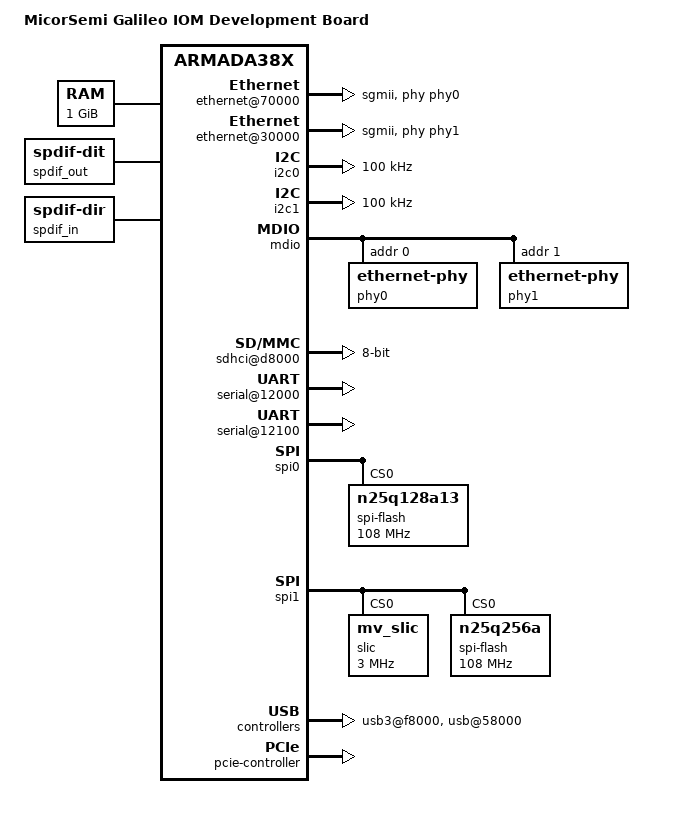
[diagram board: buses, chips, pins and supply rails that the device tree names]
/*
 * Device Tree file for Marvell Armada 385 evaluation board
 * (DB-88F6820)
 *
 *  Copyright (C) 2013 Marvell
 *
 * Thomas Petazzoni <thomas.petazzoni@free-electrons.com>
 *
 * This file is licensed under the terms of the GNU General Public
 * License version 2.  This program is licensed "as is" without any
 * warranty of any kind, whether express or implied.
 * modifed by Lijun Qin <lijun.qin@microsemi.com>
 * This is customized for Galileo IOM based Marvell SOC 88F6810 
 * Please review it carefully according to Galileo HW Spec
 */

/dts-v1/;
#include <dt-bindings/gpio/gpio.h>
#include "armada-380.dtsi"

/ {
	model = "MicorSemi Galileo IOM Development Board";
	compatible = "marvell,armada380", "marvell,armada38x";

	chosen {
		bootargs = "console=ttyS0,115200 earlyprintk";
	};

	memory {
		device_type = "memory";
		reg = <0x00000000 0x40000000>; /* MSCC uses 1GB DDR4  */
	};

	soc {

		internal-regs {
			ethernet@70000 {
				status = "okay";
				phy = <&phy0>;
				phy-mode = "sgmii"; 
			};

			ethernet@30000 {
				status = "okay";
				phy = <&phy1>;
				phy-mode = "sgmii";
			};

			i2c0: i2c@11000 {
				status = "okay";
				clock-frequency = <100000>;
			};

			i2c1: i2c@11100 {
				status = "okay";
				clock-frequency = <100000>;
			};

			mdio {
				phy0: ethernet-phy@0 {
					reg = <0>;
				};

				phy1: ethernet-phy@1 {
					reg = <1>;
				};
			};

			tdm@b0000 {
				pinctrl-0 = <&tdm_pins>;
				pinctrl-names = "default";
				pclk-freq-mhz = <8>;
			};

			sdhci@d8000 {
				broken-cd;
				wp-inverted;
				bus-width = <8>;
				status = "okay";
				no-1-8-v;
			};

			serial@12000 {
				status = "okay";
			};

			serial@12100 {
				status = "okay";
			};
			
			spi0: spi@10600 {
				spi-flash@0 {
					#address-cells = <1>;  /* Galieo has only one SPI ROM 4M, totally for u-boot, kernel/rootfs is on USB */ 
					#size-cells = <1>;    /* Plase validate spi0 and spi1 according to galileo HW Spec */
					compatible = "n25q128a13";
					reg = <0>; /* Chip select 0 */
					spi-max-frequency = <108000000>;
					mtd0@00000000 {
						label = "U-Boot";
						reg = <0x00000000 0x00400000>;
						read-only;
					};

					mtd1@00400000 {
						label = "Root";
						reg = <0x00400000 0x00c00000>;
					};
				};
			};

			spi1: spi@10680 {
				pinctrl-0 = <&spi1_pins>;
				pinctrl-names = "default";

				slic@0 {
					#address-cells = <1>;
					#size-cells = <0>;
					compatible = "mv_slic";
					reg = <0>; /* Chip select 0 */
					spi-max-frequency = <3000000>;
					spi-1byte-cs;
					spi-cpol;
					spi-cpha;
				};
				spi-flash@0 {
					#address-cells = <1>;
					#size-cells = <1>;
					compatible = "n25q256a"; /* this flash is used for AMC board */
					reg = <0>; /* Chip select 0 */
					spi-max-frequency = <108000000>;
					mtd0@00000000 {
						label = "U-Boot";
						reg = <0x00000000 0x00400000>;
						read-only;
					};

					mtd1@00400000 {
						label = "Root";
						reg = <0x00400000 0x00c00000>;
					};
				};
			};
			
			usb3@f8000 {
				status = "okay"; /* USB 3.0 for kernel/rootfs */
			};
			usb@58000 {
				status = "okay";  /* USB 2.0 for Exar */
			};
			audio-controller@e8000 {
				pinctrl-0 = <&i2s_pins>;  /* not neededed ? */
				pinctrl-names = "default";
			};

			crypto@9D000 {
				status = "okay";
			};
		};

		pcie-controller {
			status = "okay"; /* We have a SAS HBA controller connected to this PCIe */
		};
	};


	spdif_out: spdif-out {
		compatible = "linux,spdif-dit";
	};

	spdif_in: spdif-in {
		compatible = "linux,spdif-dir";
	};
};
